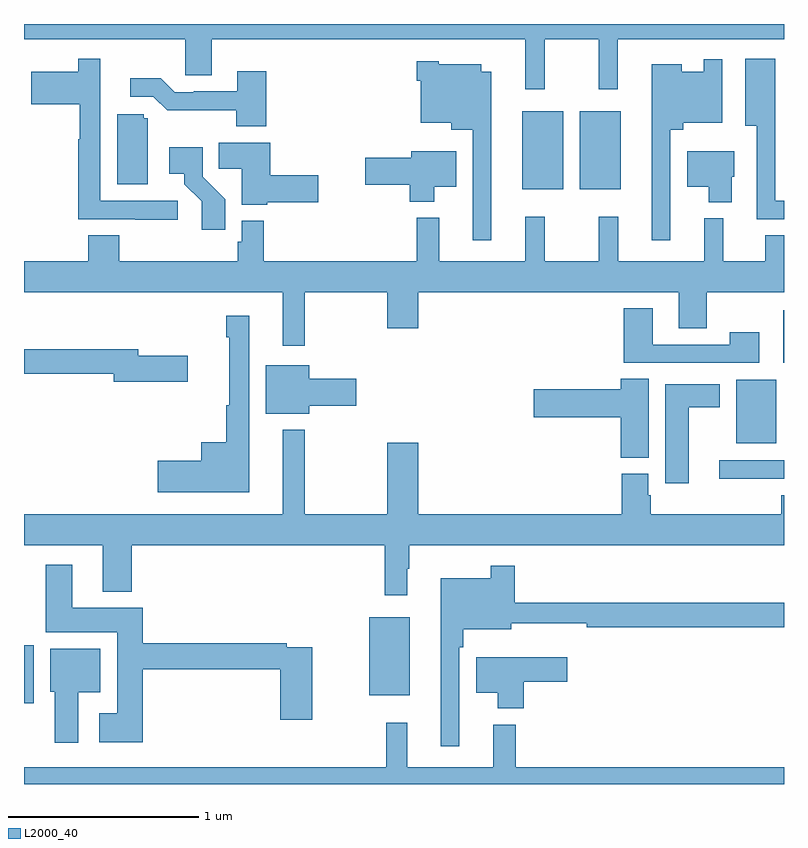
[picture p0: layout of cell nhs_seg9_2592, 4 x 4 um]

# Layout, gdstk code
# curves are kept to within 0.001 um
import gdstk
lib = gdstk.Library(unit=1e-6, precision=1e-09)
def R(c, l, rs):  # rectangles x0, y0, x1, y1
    for r in rs: c.add(gdstk.rectangle(r[:2], r[2:], *l))
def P(c, l, *ps):  # polygons
    for p in ps: c.add(gdstk.Polygon(p, *l))
L2000_40 = (2000, 40)

nhs_seg9_2592 = lib.new_cell('nhs_seg9_2592')
R(nhs_seg9_2592, L2000_40, [(259,1192.925,259.051,1193.23), (260.816,1192.967,261.031,1193.377), (262.659,1194.107,263,1194.204), (262.748,1194.293,262.96,1194.628), (262.997,1194.716,263,1194.994), (261.623,1195.631,261.838,1196.041), (261.926,1195.631,262.141,1196.041)])
P(nhs_seg9_2592, L2000_40, [(259,1196.42),(259.848,1196.42),(259.848,1196.23),(259.987,1196.23),(259.987,1196.42),(261.637,1196.42),(261.637,1196.157),(261.74,1196.157),(261.74,1196.42),(262.024,1196.42),(262.024,1196.157),(262.126,1196.157),(262.126,1196.42),(263,1196.42),(263,1196.5),(259,1196.5)],
  [(259.81,1195.569),(259.401,1195.569),(259.401,1196.094),(259.402,1196.094),(259.402,1196.317),(259.285,1196.317),(259.285,1196.248),(259.038,1196.248),(259.038,1196.078),(259.293,1196.078),(259.293,1195.894),(259.285,1195.894),(259.285,1195.473),(259.585,1195.473),(259.585,1195.471),(259.81,1195.471)],
  [(263,1195.569),(262.953,1195.569),(262.953,1196.068),(262.954,1196.068),(262.954,1196.317),(262.796,1196.317),(262.796,1195.964),(262.857,1195.964),(262.857,1195.473),(263,1195.473)],
  [(262.401,1195.943),(262.47,1195.943),(262.47,1195.979),(262.674,1195.979),(262.674,1196.314),(262.578,1196.314),(262.578,1196.248),(262.462,1196.248),(262.462,1196.287),(262.304,1196.287),(262.304,1195.362),(262.401,1195.362)],
  [(261.46,1196.248),(261.406,1196.248),(261.406,1196.287),(261.183,1196.287),(261.183,1196.305),(261.068,1196.305),(261.068,1196.201),(261.089,1196.201),(261.089,1195.979),(261.248,1195.979),(261.248,1195.943),(261.363,1195.943),(261.363,1195.362),(261.46,1195.362)],
  [(260.276,1196.251),(260.123,1196.251),(260.123,1196.145),(259.894,1196.145),(259.894,1196.142),(259.794,1196.142),(259.721,1196.215),(259.56,1196.215),(259.56,1196.118),(259.68,1196.118),(259.753,1196.045),(260.116,1196.046),(260.116,1195.961),(260.276,1195.961)],
  [(259.651,1196.004),(259.629,1196.004),(259.629,1196.025),(259.49,1196.025),(259.49,1195.656),(259.651,1195.656)],
  [(260.28,1195.561),(260.548,1195.561),(260.548,1195.703),(260.297,1195.703),(260.297,1195.876),(260.026,1195.876),(260.026,1195.738),(260.147,1195.738),(260.147,1195.55),(260.28,1195.55)],
  [(260.06,1195.578),(259.941,1195.697),(259.941,1195.852),(259.764,1195.852),(259.764,1195.712),(259.844,1195.712),(259.844,1195.657),(259.935,1195.567),(259.935,1195.416),(260.06,1195.416)],
  [(261.16,1195.643),(261.274,1195.643),(261.274,1195.831),(261.038,1195.831),(261.038,1195.796),(260.796,1195.796),(260.796,1195.654),(261.031,1195.654),(261.031,1195.565),(261.16,1195.565)],
  [(262.726,1195.695),(262.738,1195.695),(262.738,1195.831),(262.49,1195.831),(262.49,1195.643),(262.604,1195.643),(262.604,1195.562),(262.726,1195.562)],
  [(260.261,1195.465),(260.145,1195.465),(260.145,1195.353),(260.125,1195.353),(260.125,1195.252),(259.502,1195.252),(259.502,1195.388),(259.337,1195.388),(259.337,1195.252),(259,1195.252),(259,1195.088),(260.363,1195.088),(260.363,1194.807),(260.477,1194.807),(260.477,1195.088),(260.912,1195.088),(260.912,1194.9),(261.076,1194.9),(261.076,1195.088),(262.445,1195.088),(262.445,1194.898),(262.593,1194.898),(262.593,1195.088),(263,1195.088),(263,1195.388),(262.901,1195.388),(262.901,1195.252),(262.679,1195.252),(262.679,1195.477),(262.58,1195.477),(262.58,1195.252),(262.127,1195.252),(262.127,1195.486),(262.024,1195.486),(262.024,1195.252),(261.74,1195.252),(261.74,1195.486),(261.638,1195.486),(261.638,1195.252),(261.185,1195.252),(261.185,1195.48),(261.067,1195.48),(261.067,1195.252),(260.261,1195.252)],
  [(262.87,1194.877),(262.714,1194.877),(262.714,1194.813),(262.309,1194.813),(262.309,1195.003),(262.157,1195.003),(262.157,1194.717),(262.87,1194.717)],
  [(260.185,1194.964),(260.064,1194.964),(260.064,1194.851),(260.081,1194.851),(260.081,1194.494),(260.064,1194.494),(260.064,1194.298),(259.934,1194.298),(259.934,1194.201),(259.704,1194.201),(259.704,1194.035),(260.185,1194.035)],
  [(259.861,1194.753),(259.6,1194.753),(259.6,1194.787),(259,1194.787),(259,1194.658),(259.472,1194.658),(259.472,1194.616),(259.861,1194.616)],
  [(260.5,1194.491),(260.749,1194.491),(260.749,1194.633),(260.5,1194.633),(260.5,1194.703),(260.273,1194.703),(260.273,1194.449),(260.5,1194.449)],
  [(262.288,1194.632),(262.142,1194.632),(262.142,1194.578),(261.684,1194.578),(261.684,1194.431),(262.142,1194.431),(262.142,1194.217),(262.288,1194.217)],
  [(262.498,1194.482),(262.663,1194.482),(262.663,1194.604),(262.376,1194.604),(262.376,1194.084),(262.498,1194.084)],
  [(261.016,1193.633),(261.028,1193.633),(261.028,1193.756),(263,1193.756),(263,1194.019),(262.985,1194.019),(262.985,1193.92),(262.298,1193.92),(262.298,1194.021),(262.285,1194.021),(262.285,1194.132),(262.145,1194.132),(262.145,1193.92),(261.076,1193.92),(261.076,1194.295),(260.912,1194.295),(260.912,1193.92),(260.477,1193.92),(260.477,1194.364),(260.363,1194.364),(260.363,1193.92),(259,1193.92),(259,1193.756),(259.415,1193.756),(259.415,1193.513),(259.568,1193.513),(259.568,1193.756),(260.899,1193.756),(260.899,1193.493),(261.016,1193.493)],
  [(259.625,1193.104),(260.348,1193.104),(260.348,1192.839),(260.518,1192.839),(260.518,1193.22),(260.384,1193.22),(260.384,1193.24),(259.625,1193.24),(259.625,1193.428),(259.255,1193.428),(259.255,1193.653),(259.115,1193.653),(259.115,1193.3),(259.49,1193.3),(259.49,1192.873),(259.395,1192.873),(259.395,1192.721),(259.625,1192.721)],
  [(261.291,1193.219),(261.311,1193.219),(261.311,1193.315),(261.565,1193.315),(261.565,1193.345),(261.961,1193.345),(261.961,1193.326),(263,1193.326),(263,1193.455),(261.584,1193.455),(261.584,1193.65),(261.456,1193.65),(261.456,1193.584),(261.194,1193.584),(261.194,1192.698),(261.291,1192.698)],
  [(259.285,1192.982),(259.402,1192.982),(259.402,1193.212),(259.139,1193.212),(259.139,1192.986),(259.163,1192.986),(259.163,1192.716),(259.285,1192.716)],
  [(261.629,1193.038),(261.859,1193.038),(261.859,1193.167),(261.38,1193.167),(261.38,1192.979),(261.494,1192.979),(261.494,1192.898),(261.629,1192.898)],
  [(263,1192.588),(261.587,1192.588),(261.587,1192.813),(261.47,1192.813),(261.47,1192.588),(261.017,1192.588),(261.017,1192.822),(260.907,1192.822),(260.907,1192.588),(259,1192.588),(259,1192.5),(263,1192.5)])

lib.write_gds('nhs_seg9_2592.gds')
